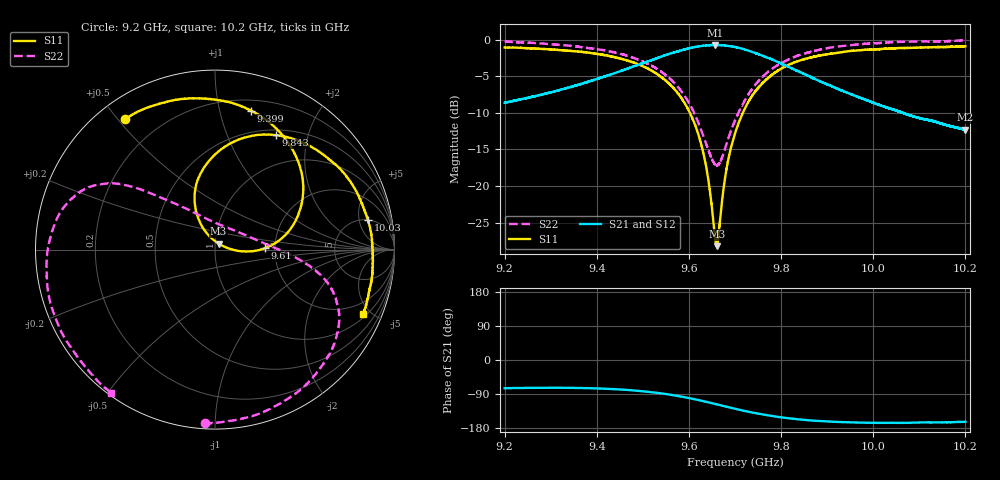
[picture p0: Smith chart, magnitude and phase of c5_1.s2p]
!Agilent Technologies,N5242A,MY51221714,A.09.90.19
!Agilent N5242A: A.09.90.19
!Date: Saturday, December 30, 2023 10:27:20
!Correction: S11(Full 2 Port(1,2))
!S21(Full 2 Port(1,2))
!S12(Full 2 Port(1,2))
!S22(Full 2 Port(1,2))
!S2P File: Measurements: S11, S21, S12, S22:
# Hz S  dB  R 50
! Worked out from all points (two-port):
!   16001 points, 9.2 GHz to 10.2 GHz, reference 50 ohm
!   highest |S21| = -0.73 dB at 9.657 GHz (marker M1); lowest = -12.3 dB at 10.2 GHz (marker M2)
!   |S21| within 3 dB of the highest: 9.477 GHz to 9.816 GHz (339.2 MHz wide, 3.52 % of centre); 9.816408 GHz to 9.81646 GHz (52.31 kHz wide, 0.000533 % of centre)
!   lowest |S11| = -28.2 dB at 9.66 GHz (marker M3), VSWR 1.08, Z = 51.9 + j3.49 ohm
!   |S11| at or under -10 dB: 9.602 GHz to 9.717 GHz (115 MHz wide, 1.19 % of centre)
!   |S22| runs from -17.2 to -0.1 dB; largest |S21 - S12| = 0.014
!   S11 on the Smith chart (normalised r, x): 9.2 GHz: 0.08, +0.52; 9.399 GHz: 0.29, +1.25; 9.61 GHz: 1.78, +0.03; 9.843 GHz: 0.57, +1.52; 10.03 GHz: 5.10, +6.77; 10.2 GHz: 1.17, -4.48
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9.2e9  -1.08 124.6  -8.62 -74.4  -8.60 -75.1  -0.27 -93.4
9.275188e9  -1.26 107.2  -7.60 -73.5  -7.57 -74.1  -0.51 -73.1
9.366688e9  -1.67 84.3  -6.04 -73.9  -6.02 -74.7  -1.04 -49.5
9.398812e9  -1.94 75.5  -5.41 -74.9  -5.39 -75.8  -1.30 -41.7
9.466688e9  -2.86 55.0  -3.96 -79.1  -3.95 -79.8  -2.23 -26.9
9.533375e9  -4.81 31.5  -2.47 -87.0  -2.47 -87.7  -4.10 -14.6
9.609562e9  -11.06 1.8  -1.06 -102.8  -1.05 -103.6  -9.76 2.4
9.636312e9  -16.99 -3.3  -0.80 -110.1  -0.79 -110.8  -14.03 21.8
9.656625e9  -27.11 33.2  -0.73 -115.9  -0.73 -116.6  -17.01 58.4
9.660438e9  -28.19 59.7  -0.73 -117.1  -0.73 -117.7  -17.14 67.9
9.681e9  -17.88 118.7  -0.83 -123.2  -0.82 -123.9  -14.37 109.7
9.7e9  -12.83 116.6  -1.02 -128.6  -0.98 -129.3  -11.03 125.2
9.752688e9  -6.42 95.8  -2.03 -142.0  -2.02 -142.8  -5.54 140.8
9.797188e9  -4.08 78.1  -3.18 -150.7  -3.19 -151.5  -3.32 147.2
9.842812e9  -2.81 61.8  -4.48 -157.2  -4.48 -157.9  -2.05 154.1
9.866688e9  -2.41 54.1  -5.18 -159.7  -5.18 -160.4  -1.63 158.0
9.95e9  -1.57 30.7  -7.41 -164.5  -7.42 -165.2  -0.78 174.2
1.003281e10  -1.22 10.8  -9.34 -165.8  -9.33 -166.6  -0.39 -167.3
1.003338e10  -1.22 10.7  -9.35 -165.8  -9.35 -166.6  -0.38 -167.1
1.0107e10  -1.09 -4.9  -10.81 -164.7  -10.82 -165.4  -0.25 -149.4
1.019875e10  -0.92 -23.3  -12.30 -163.2  -12.27 -164.0  -0.13 -126.1
1.02e10  -0.91 -23.7  -12.30 -163.2  -12.28 -164.1  -0.13 -125.9
